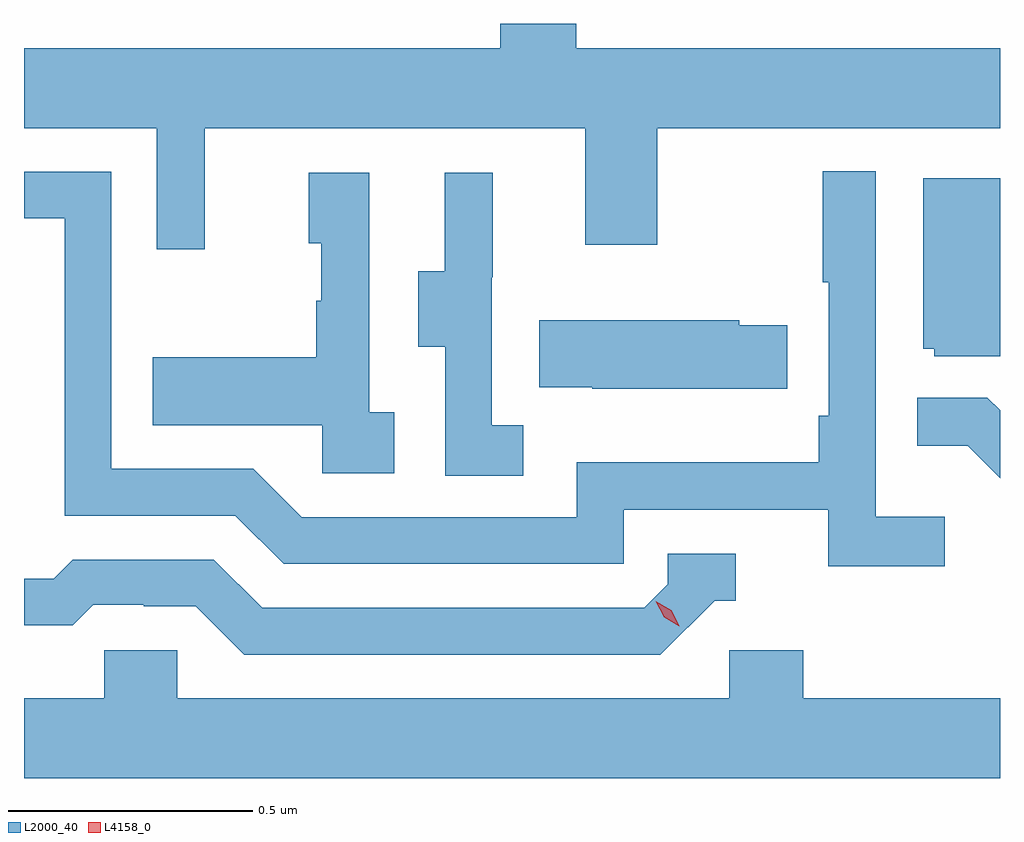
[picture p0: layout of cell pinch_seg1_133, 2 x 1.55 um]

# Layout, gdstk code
import gdstk
lib = gdstk.Library(unit=1e-6, precision=1e-09)
def P(c, l, *ps):  # polygons
    for p in ps: c.add(gdstk.Polygon(p, *l))
L2000_40 = (2000, 40)
L4158_0 = (4158, 0)

pinch_seg1_133 = lib.new_cell('pinch_seg1_133')
P(pinch_seg1_133, L2000_40, [(1034.555,545.072),(1035.335,545.072),(1035.335,544.833),(1035.483,544.833),(1035.483,545.072),(1036.185,545.072),(1036.185,545.236),(1035.317,545.236),(1035.317,545.286),(1035.161,545.286),(1035.161,545.236),(1034.185,545.236),(1034.185,545.072),(1034.457,545.072),(1034.457,544.824),(1034.555,544.824)],
  [(1036.072,544.276),(1035.93,544.276),(1035.93,544.984),(1035.822,544.984),(1035.822,544.756),(1035.834,544.756),(1035.834,544.483),(1035.814,544.483),(1035.814,544.387),(1035.318,544.387),(1035.318,544.275),(1034.754,544.275),(1034.655,544.374),(1034.364,544.374),(1034.364,544.983),(1034.185,544.983),(1034.185,544.887),(1034.268,544.887),(1034.268,544.278),(1034.618,544.278),(1034.717,544.179),(1035.414,544.179),(1035.414,544.29),(1035.833,544.29),(1035.833,544.174),(1036.072,544.174)],
  [(1035.208,544.463),(1035.144,544.463),(1035.144,544.767),(1035.146,544.767),(1035.146,544.981),(1035.047,544.981),(1035.047,544.779),(1034.993,544.779),(1034.993,544.624),(1035.048,544.624),(1035.048,544.36),(1035.208,544.36)],
  [(1034.944,544.49),(1034.892,544.49),(1034.892,544.981),(1034.768,544.981),(1034.768,544.836),(1034.794,544.836),(1034.794,544.718),(1034.784,544.718),(1034.784,544.603),(1034.449,544.603),(1034.449,544.463),(1034.796,544.463),(1034.796,544.365),(1034.944,544.365)],
  [(1036.185,544.969),(1036.028,544.969),(1036.028,544.62),(1036.05,544.62),(1036.05,544.605),(1036.185,544.605)],
  [(1035.749,544.668),(1035.651,544.668),(1035.651,544.678),(1035.241,544.678),(1035.241,544.541),(1035.349,544.541),(1035.349,544.538),(1035.749,544.538)],
  [(1036.185,544.494),(1036.159,544.52),(1036.015,544.52),(1036.015,544.421),(1036.119,544.421),(1036.185,544.355)],
  [(1035.6,544.104),(1035.643,544.104),(1035.643,544.2),(1035.504,544.2),(1035.504,544.137),(1035.456,544.089),(1034.673,544.089),(1034.574,544.188),(1034.285,544.188),(1034.246,544.149),(1034.185,544.149),(1034.185,544.053),(1034.285,544.053),(1034.327,544.095),(1034.43,544.095),(1034.43,544.092),(1034.537,544.092),(1034.636,543.993),(1035.489,543.993)],
  [(1036.185,543.904),(1035.782,543.904),(1035.782,544.002),(1035.63,544.002),(1035.63,543.904),(1034.499,543.904),(1034.499,544.002),(1034.349,544.002),(1034.349,543.904),(1034.185,543.904),(1034.185,543.74),(1036.185,543.74)])
P(pinch_seg1_133, L4158_0, [(1035.528,544.051),(1035.497,544.07),(1035.48,544.103),(1035.48,544.103),(1035.48,544.103),(1035.511,544.084),(1035.528,544.052),(1035.528,544.051)])

lib.write_gds('pinch_seg1_133.gds')
